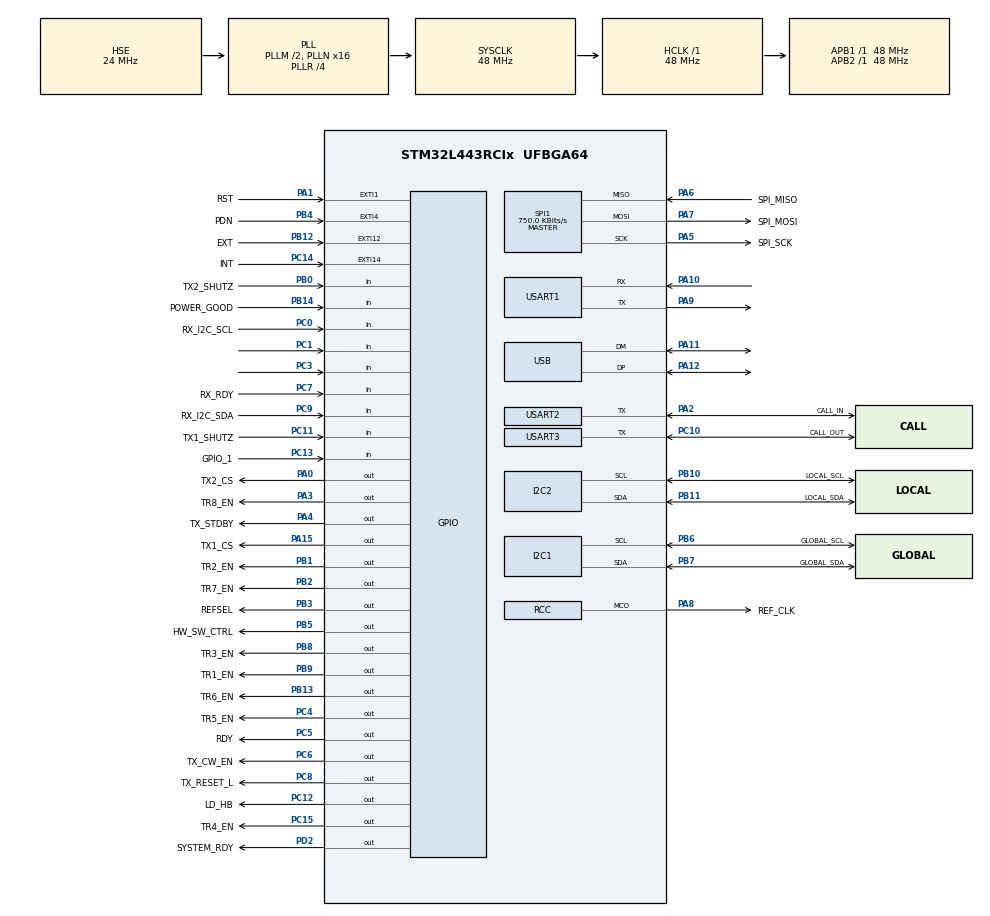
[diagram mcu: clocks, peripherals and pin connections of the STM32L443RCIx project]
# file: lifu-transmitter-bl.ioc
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Dma.Request0=USART2_RX
Dma.Request1=USART2_TX
Dma.Request2=USART3_RX
Dma.Request3=USART3_TX
Dma.Request4=USART1_TX
Dma.USART1_TX.4.Direction=DMA_MEMORY_TO_PERIPH
Dma.USART1_TX.4.Instance=DMA1_Channel4
Dma.USART1_TX.4.MemDataAlignment=DMA_MDATAALIGN_BYTE
Dma.USART1_TX.4.MemInc=DMA_MINC_ENABLE
Dma.USART1_TX.4.Mode=DMA_NORMAL
Dma.USART1_TX.4.PeriphDataAlignment=DMA_PDATAALIGN_BYTE
Dma.USART1_TX.4.PeriphInc=DMA_PINC_DISABLE
Dma.USART1_TX.4.Priority=DMA_PRIORITY_LOW
Dma.USART2_RX.0.Direction=DMA_PERIPH_TO_MEMORY
Dma.USART2_RX.0.Instance=DMA1_Channel6
Dma.USART2_RX.0.MemDataAlignment=DMA_MDATAALIGN_BYTE
Dma.USART2_RX.0.MemInc=DMA_MINC_ENABLE
Dma.USART2_RX.0.Mode=DMA_NORMAL
Dma.USART2_RX.0.PeriphDataAlignment=DMA_PDATAALIGN_BYTE
Dma.USART2_RX.0.PeriphInc=DMA_PINC_DISABLE
Dma.USART2_RX.0.Priority=DMA_PRIORITY_LOW
Dma.USART2_TX.1.Direction=DMA_MEMORY_TO_PERIPH
Dma.USART2_TX.1.Instance=DMA1_Channel7
Dma.USART2_TX.1.MemDataAlignment=DMA_MDATAALIGN_BYTE
Dma.USART2_TX.1.MemInc=DMA_MINC_ENABLE
Dma.USART2_TX.1.Mode=DMA_NORMAL
Dma.USART2_TX.1.PeriphDataAlignment=DMA_PDATAALIGN_BYTE
Dma.USART2_TX.1.PeriphInc=DMA_PINC_DISABLE
Dma.USART2_TX.1.Priority=DMA_PRIORITY_LOW
Dma.USART3_RX.2.Direction=DMA_PERIPH_TO_MEMORY
Dma.USART3_RX.2.Instance=DMA1_Channel3
Dma.USART3_RX.2.MemDataAlignment=DMA_MDATAALIGN_BYTE
Dma.USART3_RX.2.MemInc=DMA_MINC_ENABLE
Dma.USART3_RX.2.Mode=DMA_NORMAL
Dma.USART3_RX.2.PeriphDataAlignment=DMA_PDATAALIGN_BYTE
Dma.USART3_RX.2.PeriphInc=DMA_PINC_DISABLE
Dma.USART3_RX.2.Priority=DMA_PRIORITY_LOW
Dma.USART3_TX.3.Direction=DMA_MEMORY_TO_PERIPH
Dma.USART3_TX.3.Instance=DMA1_Channel2
Dma.USART3_TX.3.MemDataAlignment=DMA_MDATAALIGN_BYTE
Dma.USART3_TX.3.MemInc=DMA_MINC_ENABLE
Dma.USART3_TX.3.Mode=DMA_NORMAL
Dma.USART3_TX.3.PeriphDataAlignment=DMA_PDATAALIGN_BYTE
Dma.USART3_TX.3.PeriphInc=DMA_PINC_DISABLE
Dma.USART3_TX.3.Priority=DMA_PRIORITY_LOW
I2C1.Timing=0x10805D88
I2C2.Timing=0x10805D88
IWDG.Prescaler=IWDG_PRESCALER_32
Mcu.Family=STM32L4
Mcu.Name=STM32L443RCIx
Mcu.Package=UFBGA64
NVIC.AES_IRQn=true\:0\:0\:false\:false\:true\:true\:true\:true
NVIC.DMA1_Channel2_IRQn=true\:0\:0\:false\:false\:true\:false\:true\:true
NVIC.DMA1_Channel3_IRQn=true\:0\:0\:false\:false\:true\:false\:true\:true
NVIC.DMA1_Channel4_IRQn=true\:0\:0\:false\:false\:true\:false\:true\:true
NVIC.DMA1_Channel6_IRQn=true\:0\:0\:false\:false\:true\:false\:true\:true
NVIC.DMA1_Channel7_IRQn=true\:0\:0\:false\:false\:true\:false\:true\:true
NVIC.I2C1_ER_IRQn=true\:0\:0\:false\:false\:true\:true\:true\:true
NVIC.I2C1_EV_IRQn=true\:0\:0\:false\:false\:true\:true\:true\:true
NVIC.I2C2_ER_IRQn=true\:0\:0\:false\:false\:true\:true\:true\:true
NVIC.I2C2_EV_IRQn=true\:0\:0\:false\:false\:true\:true\:true\:true
NVIC.PriorityGroup=NVIC_PRIORITYGROUP_4
NVIC.SPI1_IRQn=true\:0\:0\:false\:false\:true\:true\:true\:true
NVIC.TIM2_IRQn=true\:0\:0\:false\:false\:true\:true\:true\:true
NVIC.TIM6_DAC_IRQn=true\:15\:0\:false\:false\:true\:true\:true\:true
NVIC.TimeBase=TIM6_DAC_IRQn
NVIC.TimeBaseIP=TIM6
NVIC.USART1_IRQn=true\:0\:0\:false\:false\:true\:true\:true\:true
NVIC.USART2_IRQn=true\:0\:0\:false\:false\:true\:true\:true\:true
NVIC.USART3_IRQn=true\:0\:0\:false\:false\:true\:true\:true\:true
NVIC.USB_IRQn=true\:0\:0\:false\:false\:true\:true\:true\:true
PA0.GPIO_Label=TX2_CS
PA0.Signal=GPIO_Output
PA1.GPIO_Label=RST
PA1.Signal=GPXTI1
PA10.Mode=Asynchronous
PA10.Signal=USART1_RX
PA11.Mode=Device
PA11.Signal=USB_DM
PA12.Mode=Device
PA12.Signal=USB_DP
PA13\ (JTMS-SWDIO).Mode=Serial_Wire
PA13\ (JTMS-SWDIO).Signal=SYS_JTMS-SWDIO
PA14\ (JTCK-SWCLK).Mode=Serial_Wire
PA14\ (JTCK-SWCLK).Signal=SYS_JTCK-SWCLK
PA15\ (JTDI).GPIO_Label=TX1_CS
PA15\ (JTDI).Signal=GPIO_Output
PA2.GPIO_Label=CALL_IN
PA2.Mode=Half_duplex(single_wire_mode)
PA2.Signal=USART2_TX
PA3.GPIO_Label=TR8_EN
PA3.Signal=GPIO_Output
PA4.GPIO_Label=TX_STDBY
PA4.Signal=GPIO_Output
PA5.GPIO_Label=SPI_SCK
PA5.Mode=Full_Duplex_Master
PA5.Signal=SPI1_SCK
PA6.GPIO_Label=SPI_MISO
PA6.Mode=Full_Duplex_Master
PA6.Signal=SPI1_MISO
PA7.GPIO_Label=SPI_MOSI
PA7.Mode=Full_Duplex_Master
PA7.Signal=SPI1_MOSI
PA8.GPIO_Label=REF_CLK
PA8.GPIO_Speed=GPIO_SPEED_FREQ_VERY_HIGH
PA8.Mode=Clock-out
PA8.Signal=RCC_MCO
PA9.Mode=Asynchronous
PA9.Signal=USART1_TX
PB0.GPIO_Label=TX2_SHUTZ
PB0.Signal=GPIO_Input
PB1.GPIO_Label=TR2_EN
PB1.Signal=GPIO_Output
PB10.GPIO_Label=LOCAL_SCL
PB10.Mode=I2C
PB10.Signal=I2C2_SCL
PB11.GPIO_Label=LOCAL_SDA
PB11.Mode=I2C
PB11.Signal=I2C2_SDA
PB12.GPIO_Label=EXT
PB12.Signal=GPXTI12
PB13.GPIO_Label=TR6_EN
PB13.Signal=GPIO_Output
PB14.GPIO_Label=POWER_GOOD
PB14.Signal=GPIO_Input
PB15.GPIO_Label=TRIGGER
PB15.GPIO_Speed=GPIO_SPEED_FREQ_HIGH
PB15.Signal=S_TIM15_CH2
PB2.GPIO_Label=TR7_EN
PB2.Signal=GPIO_Output
PB3\ (JTDO-TRACESWO).GPIO_Label=REFSEL
PB3\ (JTDO-TRACESWO).Signal=GPIO_Output
PB4\ (NJTRST).GPIO_Label=PDN
PB4\ (NJTRST).Signal=GPXTI4
PB5.GPIO_Label=HW_SW_CTRL
PB5.Signal=GPIO_Output
PB6.GPIO_Label=GLOBAL_SCL
PB6.Mode=I2C
PB6.Signal=I2C1_SCL
PB7.GPIO_Label=GLOBAL_SDA
PB7.Mode=I2C
PB7.Signal=I2C1_SDA
PB8.GPIO_Label=TR3_EN
PB8.Signal=GPIO_Output
PB9.GPIO_Label=TR1_EN
PB9.Signal=GPIO_Output
PC0.GPIO_Label=RX_I2C_SCL
PC0.Signal=GPIO_Input
PC1.Signal=GPIO_Input
PC10.GPIO_Label=CALL_OUT
PC10.Mode=Half_duplex(single_wire_mode)
PC10.Signal=USART3_TX
PC11.GPIO_Label=TX1_SHUTZ
PC11.Signal=GPIO_Input
PC12.GPIO_Label=LD_HB
PC12.Signal=GPIO_Output
PC13.GPIO_Label=GPIO_1
PC13.Signal=GPIO_Input
PC14-OSC32_IN\ (PC14).GPIO_Label=INT
PC14-OSC32_IN\ (PC14).Signal=GPXTI14
PC15-OSC32_OUT\ (PC15).GPIO_Label=TR4_EN
PC15-OSC32_OUT\ (PC15).Signal=GPIO_Output
PC3.Signal=GPIO_Input
PC4.GPIO_Label=TR5_EN
PC4.Signal=GPIO_Output
PC5.GPIO_Label=RDY
PC5.Signal=GPIO_Output
PC6.GPIO_Label=TX_CW_EN
PC6.Signal=GPIO_Output
PC7.GPIO_Label=RX_RDY
PC7.Signal=GPIO_Input
PC8.GPIO_Label=TX_RESET_L
PC8.Signal=GPIO_Output
PC9.GPIO_Label=RX_I2C_SDA
PC9.Signal=GPIO_Input
PD2.GPIO_Label=SYSTEM_RDY
PD2.Signal=GPIO_Output
PH0-OSC_IN\ (PH0).Mode=HSE-External-Oscillator
PH0-OSC_IN\ (PH0).Signal=RCC_OSC_IN
PH1-OSC_OUT\ (PH1).Mode=HSE-External-Oscillator
PH1-OSC_OUT\ (PH1).Signal=RCC_OSC_OUT
ProjectManager.HeapSize=0x200
ProjectManager.StackSize=0x400
ProjectManager.TargetToolchain=CMake
RCC.ADCFreq_Value=48000000
RCC.AHBFreq_Value=48000000
RCC.APB1Freq_Value=48000000
RCC.APB1TimFreq_Value=48000000
RCC.APB2Freq_Value=48000000
RCC.APB2TimFreq_Value=48000000
RCC.CK48CLockSelection=RCC_USBCLKSOURCE_HSI48
RCC.CortexFreq_Value=48000000
RCC.HCLKFreq_Value=48000000
RCC.HSE_VALUE=24000000
RCC.HSI48_VALUE=48000000
RCC.HSI_VALUE=16000000
RCC.LSE_VALUE=32768
RCC.MSI_VALUE=4000000
RCC.PLLM=2
RCC.PLLN=16
RCC.PLLQ=RCC_PLLQ_DIV4
RCC.PLLR=RCC_PLLR_DIV4
RCC.PLLSourceVirtual=RCC_PLLSOURCE_HSE
RCC.RCC_MCO1Source=RCC_MCO1SOURCE_MSI
RCC.RCC_MCODiv=RCC_MCODIV_2
RCC.SYSCLKFreq_VALUE=48000000
RCC.SYSCLKSource=RCC_SYSCLKSOURCE_PLLCLK
RCC.USBFreq_Value=48000000
RCC.VCOOutputFreq_Value=192000000
SH.S_TIM15_CH2.0=TIM15_CH2
SPI1.BaudRatePrescaler=SPI_BAUDRATEPRESCALER_64
SPI1.CalculateBaudRate=750.0 KBits/s
SPI1.DataSize=SPI_DATASIZE_8BIT
SPI1.Direction=SPI_DIRECTION_2LINES
SPI1.Mode=SPI_MODE_MASTER
SPI1.VirtualType=VM_MASTER
TIM2.Prescaler=48-1
USART1.VirtualMode-Asynchronous=VM_ASYNC
USART2.VirtualMode-Half_duplex(single_wire_mode)=VM_ASYNC
USART3.VirtualMode-Half_duplex(single_wire_mode)=VM_ASYNC
USB_DEVICE.CLASS_NAME_FS=DFU
USB_DEVICE.VID=0x483
USB_DEVICE.VirtualMode=Dfu
USB_DEVICE.VirtualModeFS=Dfu_FS
VP_AES_VS_AES.Mode=AES_Activate
VP_CRC_VS_CRC.Mode=CRC_Activate
VP_IWDG_VS_IWDG.Mode=IWDG_Activate
VP_RTC_VS_RTC_Activate.Mode=RTC_Enabled
VP_SYS_VS_tim6.Mode=TIM6
VP_TIM2_VS_ClockSourceINT.Mode=Internal
VP_USB_DEVICE_VS_USB_DEVICE_DFU_FS.Mode=DFU_FS
board=custom

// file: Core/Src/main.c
/* USER CODE BEGIN Header */
/**
 ******************************************************************************
 * @file           : main.c
 * @brief          : Main program body
 ******************************************************************************
 * @attention
 *
 * Copyright (c) 2026 STMicroelectronics.
 * All rights reserved.
 *
 * This software is licensed under terms that can be found in the LICENSE file
 * in the root directory of this software component.
 * If no LICENSE file comes with this software, it is provided AS-IS.
 *
 ******************************************************************************
 */
/* USER CODE END Header */
#include "main.h"
#include "usb_device.h"

/* USER CODE BEGIN Includes */
#include "common.h"
#include "memory_map.h"
#include "bl_trust.h"
#include "i2c_dfu_if.h"

#ifdef DEBUG_ENABLED
#include "logging.h"
#endif

#include "utils.h"

#include <stdio.h>
#include <stdbool.h>
#include <string.h>

/* USER CODE END Includes */

/* USER CODE BEGIN PTD */
typedef void (*pFunction)(void);

/* USER CODE END PTD */

CRYP_HandleTypeDef hcryp;
__ALIGN_BEGIN static const uint8_t pKeyAES[16] __ALIGN_END = {
                            0x00,0x00,0x00,0x00,0x00,0x00,0x00,0x00,0x00,0x00,
                            0x00,0x00,0x00,0x00,0x00,0x00};

CRC_HandleTypeDef hcrc;

I2C_HandleTypeDef hi2c1;
I2C_HandleTypeDef hi2c2;

IWDG_HandleTypeDef hiwdg;

RTC_HandleTypeDef hrtc;

SPI_HandleTypeDef hspi1;

TIM_HandleTypeDef htim2;

UART_HandleTypeDef huart1;
UART_HandleTypeDef huart2;
UART_HandleTypeDef huart3;
DMA_HandleTypeDef hdma_usart1_tx;
DMA_HandleTypeDef hdma_usart2_rx;
DMA_HandleTypeDef hdma_usart2_tx;
DMA_HandleTypeDef hdma_usart3_rx;
DMA_HandleTypeDef hdma_usart3_tx;

/* USER CODE BEGIN PV */
extern USBD_HandleTypeDef hUsbDeviceFS;
// Define the pointers
I2C_HandleTypeDef* GLOBAL_I2C_DEVICE = NULL;
volatile bool isUSBConnected = false;

/* USER CODE END PV */

void SystemClock_Config(void);
static void MX_GPIO_Init(void);
static void MX_DMA_Init(void);
static void MX_USART2_UART_Init(void);
static void MX_USART3_UART_Init(void);
static void MX_CRC_Init(void);
static void MX_I2C1_Init(void);
static void MX_I2C2_Init(void);
static void MX_RTC_Init(void);
static void MX_SPI1_Init(void);
static void MX_TIM2_Init(void);
static void MX_USART1_UART_Init(void);
static void MX_AES_Init(void);
static void MX_IWDG_Init(void);

/* USER CODE BEGIN 0 */

static void jump_to_application(uint32_t app_base)
{
    pFunction jump_to_app;
    const uint32_t *app_vectors = (const uint32_t *)app_base;

    /* Read vector table into local variables before any peripheral teardown so
     * they are in registers (or on the current stack) before MSP is changed. */
    uint32_t app_sp = app_vectors[0];
    uint32_t app_rv = app_vectors[1];

    /* Print vector table before touching clocks/peripherals so the UART still works. */
#ifdef DEBUG_ENABLED
    printf("BL: app SP=0x%08lX RV=0x%08lX\r\n", (unsigned long)app_sp, (unsigned long)app_rv);
#endif

    FW_DEBUG("jump prep\r\n");

    /* Fully tear down USB before handing off so the application
     * starts with the USB peripheral in reset state. */
    MX_USB_DEVICE_DeInit();

    __disable_irq();

    /* Stop SysTick */
    SysTick->CTRL = 0;
    SysTick->LOAD = 0;
    SysTick->VAL  = 0;

    /* Reset clock configuration to default (MSI 4 MHz).
     * NOTE: after this call the UART clock is wrong; no debug prints below. */
    HAL_RCC_DeInit();

    /* Disable all NVIC interrupts and clear pending flags */
    for (uint32_t i = 0; i < 8; i++)
    {
        NVIC->ICER[i] = 0xFFFFFFFF;
        NVIC->ICPR[i] = 0xFFFFFFFF;
    }

    /* Set vector table location */
    SCB->VTOR = app_base;

    /* Load MSP from application's vector table (already captured above) */
    __set_MSP(app_sp);

    /* Jump to application's Reset_Handler */
    jump_to_app = (pFunction)app_rv;

    __enable_irq();

    jump_to_app();

    while (1)
    {
    }
}

/* USER CODE END 0 */

int main(void)
{

  /* MCU Configuration--------------------------------------------------------*/

  /* Reset of all peripherals, Initializes the Flash interface and the Systick. */
  HAL_Init();

  /* Configure the system clock */
  SystemClock_Config();

  /* Initialize all configured peripherals */
  MX_GPIO_Init();
  MX_DMA_Init();
  MX_USART2_UART_Init();
  MX_USART3_UART_Init();
  MX_CRC_Init();
  MX_I2C1_Init();
  MX_I2C2_Init();
  MX_RTC_Init();
  MX_SPI1_Init();
  MX_TIM2_Init();
  MX_USART1_UART_Init();
  MX_AES_Init();
  MX_IWDG_Init();
  /* USER CODE BEGIN 2 */
#ifdef DEBUG_ENABLED
  init_dma_logging();
#endif
  const fw_metadata_t *meta = bl_metadata_ptr();
  bl_reset_flags_t reset_flags;
  uint8_t app_sp_sane;
  uint8_t app_rv_sane;
  uint8_t meta_valid;
  uint8_t enter_dfu;

#ifdef DEBUG_ENABLED
  printf("LIFU Transmitter Bootloader\r\n");
  printf("VER: %s (%s)\r\n", FW_VERSION_STRING, FW_SHA_STRING);
  printf("Date: %s\r\n", FW_BUILD_TIME_STRING);
#endif

  FW_DEBUG("boot start\r\n");
  GLOBAL_I2C_DEVICE = &hi2c1;

  reset_flags = bl_read_and_clear_reset_flags();
  FW_DEBUG("bootstate init\r\n");
  bl_bootstate_init();
  bl_clear_boot_state_cold(&reset_flags);

  HAL_GPIO_WritePin(LD_HB_GPIO_Port, LD_HB_Pin, GPIO_PIN_RESET);

  FW_DEBUG("app_sp_sane check\r\n");
  app_sp_sane = bl_app_stack_pointer_sane();
  FW_DEBUG("app_rv_sane check\r\n");
  app_rv_sane = bl_app_reset_vector_sane();
  if ((app_sp_sane == 1U) && (app_rv_sane == 1U))
  {
    FW_DEBUG("metadata/auth check\r\n");
    meta_valid = firmware_metadata_valid(meta);
  }
  else
  {
    FW_DEBUG("metadata/auth skipped\r\n");
    meta_valid = 0U;
  }

  enter_dfu = bl_should_enter_dfu(&reset_flags, meta_valid, meta);

  if (app_sp_sane == 0U)
  {
    FW_DEBUG("app SP invalid\r\n");
  }

  if (app_rv_sane == 0U)
  {
    FW_DEBUG("app RV invalid\r\n");
  }

  if (meta_valid == 0U)
  {
    FW_DEBUG("metadata/auth invalid\r\n");
  }

  /* Boot only if metadata/authentication checks pass and app stack pointer is sane. */
  if ((enter_dfu == 0U) && (app_sp_sane == 1U) && (app_rv_sane == 1U) && (meta_valid == 1U))
  {
    bl_mark_boot_in_progress();

    /* Start watchdog before handing off so a hung app will reset back into the bootloader. */
    MX_IWDG_Init();

    FW_DEBUG("jumping to app\r\n");
    jump_to_application(APPLICATION_ADDRESS);
  }

  FW_DEBUG("entering DFU mode\r\n");

  bl_clear_boot_in_progress();

  /* Attempt USB DFU first — wait up to 1.5 s for the host to enumerate */
  FW_DEBUG("init USB\r\n");
  MX_USB_DEVICE_Init();

  uint8_t  use_i2c_dfu  = 0U;
  uint32_t usb_deadline = HAL_GetTick() + 1500U;
  while (HAL_GetTick() < usb_deadline)
  {
    /* USBD_STATE_ADDRESSED (2) or CONFIGURED (3) means a host is present */
    if (hUsbDeviceFS.dev_state >= 2U)
    {
      break;
    }
    HAL_Delay(50U);
  }

  HAL_Delay(400U);

  if (isUSBConnected)
  {
    FW_DEBUG("USB DFU mode\r\n");
    use_i2c_dfu = 0U;
  }
  else
  {
    FW_DEBUG("no USB host — switching to I2C DFU mode\r\n");
    MX_USB_DEVICE_DeInit();
    I2C_DFU_Init(&hi2c1);
    use_i2c_dfu = 1U;
  }

  MX_IWDG_Init();
  /* USER CODE END 2 */

  /* Infinite loop */
  while (1)
  {

    /* USER CODE BEGIN 3 */
    if (use_i2c_dfu)
    {
      I2C_DFU_Process();
    }
    /* Keep heartbeat visible (~5 Hz) but don't block the DFU process loop */
    static uint32_t hb_tick = 0U;
    if ((HAL_GetTick() - hb_tick) >= 200U)
    {
      HAL_GPIO_TogglePin(LD_HB_GPIO_Port, LD_HB_Pin);
      hb_tick = HAL_GetTick();
    }
    HAL_Delay(5U);  /* short yield; main loop now runs ~200 Hz */
    /* Refresh IWDG: reload counter */
    if (HAL_IWDG_Refresh(&hiwdg) != HAL_OK)
    {
      /* Refresh Error */
      Error_Handler();
    }
  }
  /* USER CODE END 3 */
}

void SystemClock_Config(void)
{
  RCC_OscInitTypeDef RCC_OscInitStruct = {0};
  RCC_ClkInitTypeDef RCC_ClkInitStruct = {0};

  /** Configure the main internal regulator output voltage
  */
  if (HAL_PWREx_ControlVoltageScaling(PWR_REGULATOR_VOLTAGE_SCALE1) != HAL_OK)
  {
    Error_Handler();
  }

  /** Initializes the RCC Oscillators according to the specified parameters
  * in the RCC_OscInitTypeDef structure.
  */
  RCC_OscInitStruct.OscillatorType = RCC_OSCILLATORTYPE_HSI48|RCC_OSCILLATORTYPE_LSI
                              |RCC_OSCILLATORTYPE_HSE|RCC_OSCILLATORTYPE_MSI;
  RCC_OscInitStruct.HSEState = RCC_HSE_ON;
  RCC_OscInitStruct.HSI48State = RCC_HSI48_ON;
  RCC_OscInitStruct.LSIState = RCC_LSI_ON;
  RCC_OscInitStruct.MSIState = RCC_MSI_ON;
  RCC_OscInitStruct.MSICalibrationValue = 0;
  RCC_OscInitStruct.MSIClockRange = RCC_MSIRANGE_6;
  RCC_OscInitStruct.PLL.PLLState = RCC_PLL_ON;
  RCC_OscInitStruct.PLL.PLLSource = RCC_PLLSOURCE_HSE;
  RCC_OscInitStruct.PLL.PLLM = 2;
  RCC_OscInitStruct.PLL.PLLN = 16;
  RCC_OscInitStruct.PLL.PLLP = RCC_PLLP_DIV7;
  RCC_OscInitStruct.PLL.PLLQ = RCC_PLLQ_DIV4;
  RCC_OscInitStruct.PLL.PLLR = RCC_PLLR_DIV4;
  if (HAL_RCC_OscConfig(&RCC_OscInitStruct) != HAL_OK)
  {
    Error_Handler();
  }

  /** Initializes the CPU, AHB and APB buses clocks
  */
  RCC_ClkInitStruct.ClockType = RCC_CLOCKTYPE_HCLK|RCC_CLOCKTYPE_SYSCLK
                              |RCC_CLOCKTYPE_PCLK1|RCC_CLOCKTYPE_PCLK2;
  RCC_ClkInitStruct.SYSCLKSource = RCC_SYSCLKSOURCE_PLLCLK;
  RCC_ClkInitStruct.AHBCLKDivider = RCC_SYSCLK_DIV1;
  RCC_ClkInitStruct.APB1CLKDivider = RCC_HCLK_DIV1;
  RCC_ClkInitStruct.APB2CLKDivider = RCC_HCLK_DIV1;

  if (HAL_RCC_ClockConfig(&RCC_ClkInitStruct, FLASH_LATENCY_2) != HAL_OK)
  {
    Error_Handler();
  }
  HAL_RCC_MCOConfig(RCC_MCO1, RCC_MCO1SOURCE_MSI, RCC_MCODIV_2);
}

static void MX_AES_Init(void)
{

  hcryp.Instance = AES;
  hcryp.Init.DataType = CRYP_DATATYPE_32B;
  hcryp.Init.KeySize = CRYP_KEYSIZE_128B;
  hcryp.Init.OperatingMode = CRYP_ALGOMODE_ENCRYPT;
  hcryp.Init.ChainingMode = CRYP_CHAINMODE_AES_ECB;
  hcryp.Init.KeyWriteFlag = CRYP_KEY_WRITE_ENABLE;
  hcryp.Init.pKey = (uint8_t *)pKeyAES;
  if (HAL_CRYP_Init(&hcryp) != HAL_OK)
  {
    Error_Handler();
  }

}

static void MX_CRC_Init(void)
{

  hcrc.Instance = CRC;
  hcrc.Init.DefaultPolynomialUse = DEFAULT_POLYNOMIAL_ENABLE;
  hcrc.Init.DefaultInitValueUse = DEFAULT_INIT_VALUE_ENABLE;
  hcrc.Init.InputDataInversionMode = CRC_INPUTDATA_INVERSION_NONE;
  hcrc.Init.OutputDataInversionMode = CRC_OUTPUTDATA_INVERSION_DISABLE;
  hcrc.InputDataFormat = CRC_INPUTDATA_FORMAT_BYTES;
  if (HAL_CRC_Init(&hcrc) != HAL_OK)
  {
    Error_Handler();
  }

}

static void MX_I2C1_Init(void)
{

  hi2c1.Instance = I2C1;
  hi2c1.Init.Timing = 0x10805D88;
  hi2c1.Init.OwnAddress1 = 0;
  hi2c1.Init.AddressingMode = I2C_ADDRESSINGMODE_7BIT;
  hi2c1.Init.DualAddressMode = I2C_DUALADDRESS_DISABLE;
  hi2c1.Init.OwnAddress2 = 0;
  hi2c1.Init.OwnAddress2Masks = I2C_OA2_NOMASK;
  hi2c1.Init.GeneralCallMode = I2C_GENERALCALL_DISABLE;
  hi2c1.Init.NoStretchMode = I2C_NOSTRETCH_DISABLE;
  if (HAL_I2C_Init(&hi2c1) != HAL_OK)
  {
    Error_Handler();
  }

  /** Configure Analogue filter
  */
  if (HAL_I2CEx_ConfigAnalogFilter(&hi2c1, I2C_ANALOGFILTER_ENABLE) != HAL_OK)
  {
    Error_Handler();
  }

  /** Configure Digital filter
  */
  if (HAL_I2CEx_ConfigDigitalFilter(&hi2c1, 0) != HAL_OK)
  {
    Error_Handler();
  }

}

static void MX_I2C2_Init(void)
{

  hi2c2.Instance = I2C2;
  hi2c2.Init.Timing = 0x10805D88;
  hi2c2.Init.OwnAddress1 = 0;
  hi2c2.Init.AddressingMode = I2C_ADDRESSINGMODE_7BIT;
  hi2c2.Init.DualAddressMode = I2C_DUALADDRESS_DISABLE;
  hi2c2.Init.OwnAddress2 = 0;
  hi2c2.Init.OwnAddress2Masks = I2C_OA2_NOMASK;
  hi2c2.Init.GeneralCallMode = I2C_GENERALCALL_DISABLE;
  hi2c2.Init.NoStretchMode = I2C_NOSTRETCH_DISABLE;
  if (HAL_I2C_Init(&hi2c2) != HAL_OK)
  {
    Error_Handler();
  }

  /** Configure Analogue filter
  */
  if (HAL_I2CEx_ConfigAnalogFilter(&hi2c2, I2C_ANALOGFILTER_ENABLE) != HAL_OK)
  {
    Error_Handler();
  }

  /** Configure Digital filter
  */
  if (HAL_I2CEx_ConfigDigitalFilter(&hi2c2, 0) != HAL_OK)
  {
    Error_Handler();
  }

}

static void MX_IWDG_Init(void)
{

  hiwdg.Instance = IWDG;
  hiwdg.Init.Prescaler = IWDG_PRESCALER_32;
  hiwdg.Init.Window = 4095;
  hiwdg.Init.Reload = 4095;
  if (HAL_IWDG_Init(&hiwdg) != HAL_OK)
  {
    Error_Handler();
  }

}

static void MX_RTC_Init(void)
{

  /** Initialize RTC Only
  */
  hrtc.Instance = RTC;
  hrtc.Init.HourFormat = RTC_HOURFORMAT_24;
  hrtc.Init.AsynchPrediv = 127;
  hrtc.Init.SynchPrediv = 255;
  hrtc.Init.OutPut = RTC_OUTPUT_DISABLE;
  hrtc.Init.OutPutRemap = RTC_OUTPUT_REMAP_NONE;
  hrtc.Init.OutPutPolarity = RTC_OUTPUT_POLARITY_HIGH;
  hrtc.Init.OutPutType = RTC_OUTPUT_TYPE_OPENDRAIN;
  if (HAL_RTC_Init(&hrtc) != HAL_OK)
  {
    Error_Handler();
  }

}

static void MX_SPI1_Init(void)
{

  /* SPI1 parameter configuration*/
  hspi1.Instance = SPI1;
  hspi1.Init.Mode = SPI_MODE_MASTER;
  hspi1.Init.Direction = SPI_DIRECTION_2LINES;
  hspi1.Init.DataSize = SPI_DATASIZE_8BIT;
  hspi1.Init.CLKPolarity = SPI_POLARITY_LOW;
  hspi1.Init.CLKPhase = SPI_PHASE_1EDGE;
  hspi1.Init.NSS = SPI_NSS_SOFT;
  hspi1.Init.BaudRatePrescaler = SPI_BAUDRATEPRESCALER_64;
  hspi1.Init.FirstBit = SPI_FIRSTBIT_MSB;
  hspi1.Init.TIMode = SPI_TIMODE_DISABLE;
  hspi1.Init.CRCCalculation = SPI_CRCCALCULATION_DISABLE;
  hspi1.Init.CRCPolynomial = 7;
  hspi1.Init.CRCLength = SPI_CRC_LENGTH_DATASIZE;
  hspi1.Init.NSSPMode = SPI_NSS_PULSE_ENABLE;
  if (HAL_SPI_Init(&hspi1) != HAL_OK)
  {
    Error_Handler();
  }

}

static void MX_TIM2_Init(void)
{

  TIM_ClockConfigTypeDef sClockSourceConfig = {0};
  TIM_MasterConfigTypeDef sMasterConfig = {0};

  htim2.Instance = TIM2;
  htim2.Init.Prescaler = 48-1;
  htim2.Init.CounterMode = TIM_COUNTERMODE_UP;
  htim2.Init.Period = 4294967295;
  htim2.Init.ClockDivision = TIM_CLOCKDIVISION_DIV1;
  htim2.Init.AutoReloadPreload = TIM_AUTORELOAD_PRELOAD_DISABLE;
  if (HAL_TIM_Base_Init(&htim2) != HAL_OK)
  {
    Error_Handler();
  }
  sClockSourceConfig.ClockSource = TIM_CLOCKSOURCE_INTERNAL;
  if (HAL_TIM_ConfigClockSource(&htim2, &sClockSourceConfig) != HAL_OK)
  {
    Error_Handler();
  }
  sMasterConfig.MasterOutputTrigger = TIM_TRGO_RESET;
  sMasterConfig.MasterSlaveMode = TIM_MASTERSLAVEMODE_DISABLE;
  if (HAL_TIMEx_MasterConfigSynchronization(&htim2, &sMasterConfig) != HAL_OK)
  {
    Error_Handler();
  }

}

static void MX_USART1_UART_Init(void)
{

  huart1.Instance = USART1;
  huart1.Init.BaudRate = 115200;
  huart1.Init.WordLength = UART_WORDLENGTH_8B;
  huart1.Init.StopBits = UART_STOPBITS_1;
  huart1.Init.Parity = UART_PARITY_NONE;
  huart1.Init.Mode = UART_MODE_TX_RX;
  huart1.Init.HwFlowCtl = UART_HWCONTROL_NONE;
  huart1.Init.OverSampling = UART_OVERSAMPLING_16;
  huart1.Init.OneBitSampling = UART_ONE_BIT_SAMPLE_DISABLE;
  huart1.AdvancedInit.AdvFeatureInit = UART_ADVFEATURE_NO_INIT;
  if (HAL_UART_Init(&huart1) != HAL_OK)
  {
    Error_Handler();
  }

}

static void MX_USART2_UART_Init(void)
{

  huart2.Instance = USART2;
  huart2.Init.BaudRate = 115200;
  huart2.Init.WordLength = UART_WORDLENGTH_8B;
  huart2.Init.StopBits = UART_STOPBITS_1;
  huart2.Init.Parity = UART_PARITY_NONE;
  huart2.Init.Mode = UART_MODE_TX_RX;
  huart2.Init.HwFlowCtl = UART_HWCONTROL_NONE;
  huart2.Init.OverSampling = UART_OVERSAMPLING_16;
  huart2.Init.OneBitSampling = UART_ONE_BIT_SAMPLE_DISABLE;
  huart2.AdvancedInit.AdvFeatureInit = UART_ADVFEATURE_NO_INIT;
  if (HAL_HalfDuplex_Init(&huart2) != HAL_OK)
  {
    Error_Handler();
  }

}

static void MX_USART3_UART_Init(void)
{

  huart3.Instance = USART3;
  huart3.Init.BaudRate = 115200;
  huart3.Init.WordLength = UART_WORDLENGTH_8B;
  huart3.Init.StopBits = UART_STOPBITS_1;
  huart3.Init.Parity = UART_PARITY_NONE;
  huart3.Init.Mode = UART_MODE_TX_RX;
  huart3.Init.HwFlowCtl = UART_HWCONTROL_NONE;
  huart3.Init.OverSampling = UART_OVERSAMPLING_16;
  huart3.Init.OneBitSampling = UART_ONE_BIT_SAMPLE_DISABLE;
  huart3.AdvancedInit.AdvFeatureInit = UART_ADVFEATURE_NO_INIT;
  if (HAL_HalfDuplex_Init(&huart3) != HAL_OK)
  {
    Error_Handler();
  }

}

static void MX_DMA_Init(void)
{

  /* DMA controller clock enable */
  __HAL_RCC_DMA1_CLK_ENABLE();

  /* DMA interrupt init */
  /* DMA1_Channel2_IRQn interrupt configuration */
  HAL_NVIC_SetPriority(DMA1_Channel2_IRQn, 0, 0);
  HAL_NVIC_EnableIRQ(DMA1_Channel2_IRQn);
  /* DMA1_Channel3_IRQn interrupt configuration */
  HAL_NVIC_SetPriority(DMA1_Channel3_IRQn, 0, 0);
  HAL_NVIC_EnableIRQ(DMA1_Channel3_IRQn);
  /* DMA1_Channel4_IRQn interrupt configuration */
  HAL_NVIC_SetPriority(DMA1_Channel4_IRQn, 0, 0);
  HAL_NVIC_EnableIRQ(DMA1_Channel4_IRQn);
  /* DMA1_Channel6_IRQn interrupt configuration */
  HAL_NVIC_SetPriority(DMA1_Channel6_IRQn, 0, 0);
  HAL_NVIC_EnableIRQ(DMA1_Channel6_IRQn);
  /* DMA1_Channel7_IRQn interrupt configuration */
  HAL_NVIC_SetPriority(DMA1_Channel7_IRQn, 0, 0);
  HAL_NVIC_EnableIRQ(DMA1_Channel7_IRQn);

}

static void MX_GPIO_Init(void)
{
  GPIO_InitTypeDef GPIO_InitStruct = {0};

  /* GPIO Ports Clock Enable */
  __HAL_RCC_GPIOC_CLK_ENABLE();
  __HAL_RCC_GPIOB_CLK_ENABLE();
  __HAL_RCC_GPIOA_CLK_ENABLE();
  __HAL_RCC_GPIOD_CLK_ENABLE();
  __HAL_RCC_GPIOH_CLK_ENABLE();

  /*Configure GPIO pin Output Level */
  HAL_GPIO_WritePin(GPIOB, TR1_EN_Pin|REFSEL_Pin|TR3_EN_Pin|HW_SW_CTRL_Pin
                          |TR2_EN_Pin|TR7_EN_Pin|TR6_EN_Pin, GPIO_PIN_RESET);

  /*Configure GPIO pin Output Level */
  HAL_GPIO_WritePin(GPIOA, TX1_CS_Pin|TX2_CS_Pin|TR8_EN_Pin|TX_STDBY_Pin, GPIO_PIN_RESET);

  /*Configure GPIO pin Output Level */
  HAL_GPIO_WritePin(GPIOC, TR4_EN_Pin|LD_HB_Pin|TX_RESET_L_Pin|TX_CW_EN_Pin
                          |TR5_EN_Pin|RDY_Pin, GPIO_PIN_RESET);

  /*Configure GPIO pin Output Level */
  HAL_GPIO_WritePin(SYSTEM_RDY_GPIO_Port, SYSTEM_RDY_Pin, GPIO_PIN_RESET);

  /*Configure GPIO pin : INT_Pin */
  GPIO_InitStruct.Pin = INT_Pin;
  GPIO_InitStruct.Mode = GPIO_MODE_IT_RISING;
  GPIO_InitStruct.Pull = GPIO_NOPULL;
  HAL_GPIO_Init(INT_GPIO_Port, &GPIO_InitStruct);

  /*Configure GPIO pins : GPIO_1_Pin TX1_SHUTZ_Pin RX_I2C_SDA_Pin PC1
                           RX_I2C_SCL_Pin RX_RDY_Pin PC3 */
  GPIO_InitStruct.Pin = GPIO_1_Pin|TX1_SHUTZ_Pin|RX_I2C_SDA_Pin|GPIO_PIN_1
                          |RX_I2C_SCL_Pin|RX_RDY_Pin|GPIO_PIN_3;
  GPIO_InitStruct.Mode = GPIO_MODE_INPUT;
  GPIO_InitStruct.Pull = GPIO_NOPULL;
  HAL_GPIO_Init(GPIOC, &GPIO_InitStruct);

  /*Configure GPIO pins : TR1_EN_Pin REFSEL_Pin TR3_EN_Pin HW_SW_CTRL_Pin
                           TR2_EN_Pin TR7_EN_Pin TR6_EN_Pin */
  GPIO_InitStruct.Pin = TR1_EN_Pin|REFSEL_Pin|TR3_EN_Pin|HW_SW_CTRL_Pin
                          |TR2_EN_Pin|TR7_EN_Pin|TR6_EN_Pin;
  GPIO_InitStruct.Mode = GPIO_MODE_OUTPUT_PP;
  GPIO_InitStruct.Pull = GPIO_NOPULL;
  GPIO_InitStruct.Speed = GPIO_SPEED_FREQ_LOW;
  HAL_GPIO_Init(GPIOB, &GPIO_InitStruct);

  /*Configure GPIO pins : PDN_Pin EXT_Pin */
  GPIO_InitStruct.Pin = PDN_Pin|EXT_Pin;
  GPIO_InitStruct.Mode = GPIO_MODE_IT_RISING;
  GPIO_InitStruct.Pull = GPIO_NOPULL;
  HAL_GPIO_Init(GPIOB, &GPIO_InitStruct);

  /*Configure GPIO pins : TX1_CS_Pin TX2_CS_Pin TR8_EN_Pin TX_STDBY_Pin */
  GPIO_InitStruct.Pin = TX1_CS_Pin|TX2_CS_Pin|TR8_EN_Pin|TX_STDBY_Pin;
  GPIO_InitStruct.Mode = GPIO_MODE_OUTPUT_PP;
  GPIO_InitStruct.Pull = GPIO_NOPULL;
  GPIO_InitStruct.Speed = GPIO_SPEED_FREQ_LOW;
  HAL_GPIO_Init(GPIOA, &GPIO_InitStruct);

  /*Configure GPIO pins : TR4_EN_Pin LD_HB_Pin TX_RESET_L_Pin TX_CW_EN_Pin
                           TR5_EN_Pin RDY_Pin */
  GPIO_InitStruct.Pin = TR4_EN_Pin|LD_HB_Pin|TX_RESET_L_Pin|TX_CW_EN_Pin
                          |TR5_EN_Pin|RDY_Pin;
  GPIO_InitStruct.Mode = GPIO_MODE_OUTPUT_PP;
  GPIO_InitStruct.Pull = GPIO_NOPULL;
  GPIO_InitStruct.Speed = GPIO_SPEED_FREQ_LOW;
  HAL_GPIO_Init(GPIOC, &GPIO_InitStruct);

  /*Configure GPIO pin : SYSTEM_RDY_Pin */
  GPIO_InitStruct.Pin = SYSTEM_RDY_Pin;
  GPIO_InitStruct.Mode = GPIO_MODE_OUTPUT_PP;
  GPIO_InitStruct.Pull = GPIO_NOPULL;
  GPIO_InitStruct.Speed = GPIO_SPEED_FREQ_LOW;
  HAL_GPIO_Init(SYSTEM_RDY_GPIO_Port, &GPIO_InitStruct);

  /*Configure GPIO pin : REF_CLK_Pin */
  GPIO_InitStruct.Pin = REF_CLK_Pin;
  GPIO_InitStruct.Mode = GPIO_MODE_AF_PP;
  GPIO_InitStruct.Pull = GPIO_NOPULL;
  GPIO_InitStruct.Speed = GPIO_SPEED_FREQ_VERY_HIGH;
  GPIO_InitStruct.Alternate = GPIO_AF0_MCO;
  HAL_GPIO_Init(REF_CLK_GPIO_Port, &GPIO_InitStruct);

  /*Configure GPIO pins : TX2_SHUTZ_Pin POWER_GOOD_Pin */
  GPIO_InitStruct.Pin = TX2_SHUTZ_Pin|POWER_GOOD_Pin;
  GPIO_InitStruct.Mode = GPIO_MODE_INPUT;
  GPIO_InitStruct.Pull = GPIO_NOPULL;
  HAL_GPIO_Init(GPIOB, &GPIO_InitStruct);

  /*Configure GPIO pin : TRIGGER_Pin */
  GPIO_InitStruct.Pin = TRIGGER_Pin;
  GPIO_InitStruct.Mode = GPIO_MODE_AF_PP;
  GPIO_InitStruct.Pull = GPIO_NOPULL;
  GPIO_InitStruct.Speed = GPIO_SPEED_FREQ_HIGH;
  GPIO_InitStruct.Alternate = GPIO_AF14_TIM15;
  HAL_GPIO_Init(TRIGGER_GPIO_Port, &GPIO_InitStruct);

  /*Configure GPIO pin : RST_Pin */
  GPIO_InitStruct.Pin = RST_Pin;
  GPIO_InitStruct.Mode = GPIO_MODE_IT_RISING;
  GPIO_InitStruct.Pull = GPIO_NOPULL;
  HAL_GPIO_Init(RST_GPIO_Port, &GPIO_InitStruct);

}

/* USER CODE BEGIN 4 */

void HAL_UART_TxCpltCallback(UART_HandleTypeDef *huart)
{

#ifdef DEBUG_ENABLED
	if(huart->Instance == DEBUG_UART.Instance)
	{
		logging_UART_TxCpltCallback(huart);
    return;
	}
#endif
}
/* USER CODE END 4 */

void HAL_TIM_PeriodElapsedCallback(TIM_HandleTypeDef *htim)
{
  if (htim->Instance == TIM6)
  {
    HAL_IncTick();
  }
}

void Error_Handler(void)
{
  /* USER CODE BEGIN Error_Handler_Debug */
  /* User can add his own implementation to report the HAL error return state */
  HAL_GPIO_WritePin(LD_HB_GPIO_Port, LD_HB_Pin, GPIO_PIN_SET);
  __disable_irq();
  while (1)
  {
  }
  /* USER CODE END Error_Handler_Debug */
}
#ifdef USE_FULL_ASSERT
/**
  * @brief  Reports the name of the source file and the source line number
  *         where the assert_param error has occurred.
  * @param  file: pointer to the source file name
  * @param  line: assert_param error line source number
  * @retval None
  */
void assert_failed(uint8_t *file, uint32_t line)
{
  /* USER CODE BEGIN 6 */
  /* User can add his own implementation to report the file name and line number,
     ex: FW_DEBUG("Wrong parameters value: file %s on line %d\r\n", file, line) */
  /* USER CODE END 6 */
}
#endif /* USE_FULL_ASSERT */
